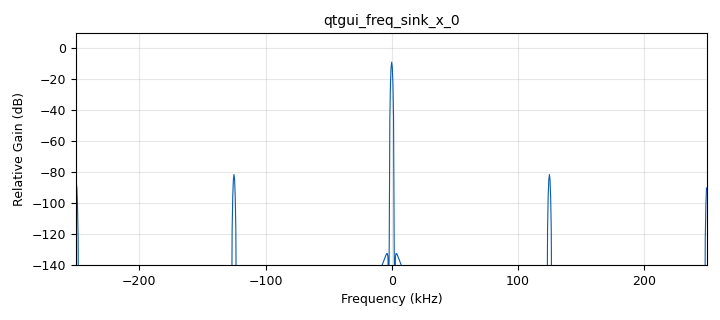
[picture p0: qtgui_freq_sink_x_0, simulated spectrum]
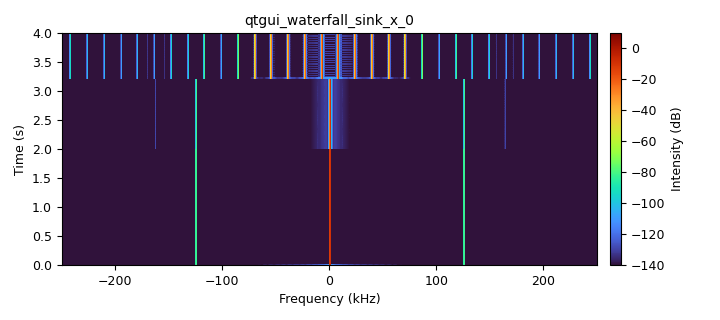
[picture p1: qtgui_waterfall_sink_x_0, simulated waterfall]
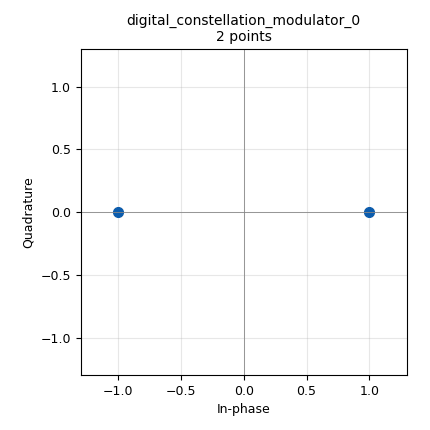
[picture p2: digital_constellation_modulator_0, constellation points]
options:
  parameters:
    generate_options: qt_gui
    id: pakal_FHSS_mk1
    output_language: python
    title: Not titled yet
  states: {}

blocks:
- name: bpsk_const
  id: variable_constellation
  parameters:
    precision: '8'
    type: bpsk
  states: {}
- name: hop_interval
  id: variable
  parameters:
    value: '200000'
  states: {}
- name: hop_interval_0
  id: variable
  parameters:
    value: '2000'
  states: {}
- name: num_channels
  id: variable
  parameters:
    value: '10'
  states: {}
- name: samp_rate
  id: variable
  parameters:
    value: '500000'
  states: {}
- name: blocks_int_to_float_0
  id: blocks_int_to_float
  parameters:
    scale: '1'
  states: {}
- name: blocks_multiply_xx_0
  id: blocks_multiply_xx
  parameters:
    type: complex
  states: {}
- name: blocks_repeat_0
  id: blocks_repeat
  parameters:
    interp: '1000000'
    type: int
  states: {}
- name: blocks_throttle_0
  id: blocks_throttle
  parameters:
    samples_per_second: samp_rate
    type: complex
  states: {}
- name: blocks_vco_c_0
  id: blocks_vco_c
  parameters:
    amplitude: '1.0'
    samp_rate: samp_rate
    sensitivity: '1000 '
  states: {}
- name: blocks_vector_source_x_0
  id: blocks_vector_source_x
  parameters:
    repeat: 'True'
    type: int
    vector: '[0, 1, 2, 3, 4, 5, 6, 7, 8, 9]'
  states: {}
- name: blocks_vector_source_x_1
  id: blocks_vector_source_x
  parameters:
    repeat: 'True'
    type: byte
    vector: "  [0]*50000 + [1]*50000 + [2]*50000 + [3]*50000\n\n"
  states: {}
- name: digital_constellation_modulator_0
  id: digital_constellation_modulator
  parameters:
    constellation: bpsk_const
    differential: 'True'
    excess_bw: '0.35'
    samples_per_symbol: '4'
  states: {}
- name: import_0
  id: import
  parameters:
    imports: import math
  states: {}
- name: qtgui_freq_sink_x_0
  id: qtgui_freq_sink_x
  parameters:
    bw: samp_rate
    fc: '0'
    fftsize: '1024'
    type: complex
  states: {}
- name: qtgui_waterfall_sink_x_0
  id: qtgui_waterfall_sink_x
  parameters:
    bw: samp_rate
    fc: '0'
    fftsize: '4096'
    type: complex
  states: {}

connections:
- [blocks_int_to_float_0, '0', blocks_vco_c_0, '0']
- [blocks_multiply_xx_0, '0', blocks_throttle_0, '0']
- [blocks_repeat_0, '0', blocks_int_to_float_0, '0']
- [blocks_throttle_0, '0', qtgui_freq_sink_x_0, '0']
- [blocks_throttle_0, '0', qtgui_waterfall_sink_x_0, '0']
- [blocks_vco_c_0, '0', blocks_multiply_xx_0, '1']
- [blocks_vector_source_x_0, '0', blocks_repeat_0, '0']
- [blocks_vector_source_x_1, '0', digital_constellation_modulator_0, '0']
- [digital_constellation_modulator_0, '0', blocks_multiply_xx_0, '0']

metadata:
  file_format: 1
